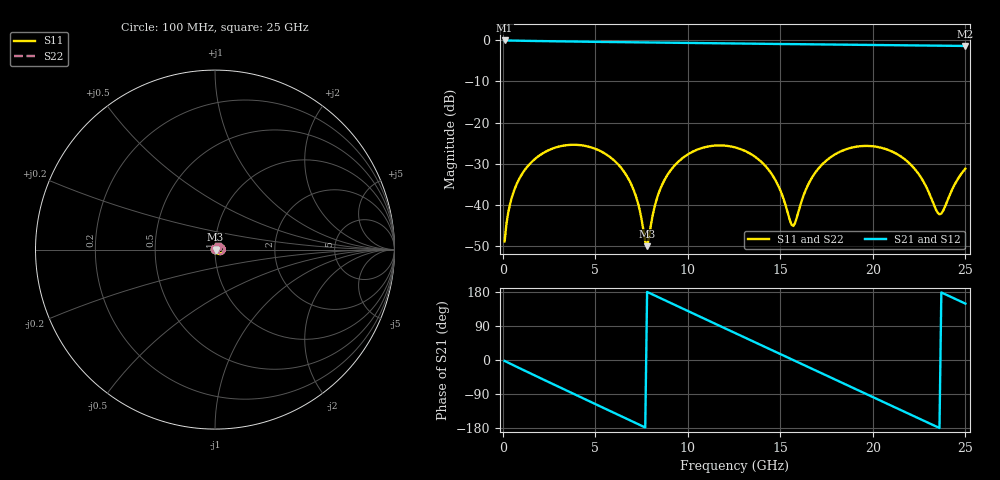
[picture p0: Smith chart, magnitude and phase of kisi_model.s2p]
! kisi T_ts6_sl_10: fast channel model (formula impedances, via model), up to 25 GHz
# Hz S RI R 50
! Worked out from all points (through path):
!   250 points, 100 MHz to 25 GHz, reference 50 ohm
!   highest |S21| = -0.03 dB at 100 MHz (marker M1); lowest = -1.4 dB at 25 GHz (marker M2)
!   group delay of S21, straight-line fit = 63.3 ps
!   lowest |S11| = -50.1 dB at 7.8 GHz (marker M3), VSWR 1.01, Z = 50.3 + j0.0442 ohm
!   |S11| at or under -10 dB: start of sweep to end of sweep
!   |S22| runs from -50.1 to -25.4 dB; largest |S21 - S12| = 0
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1e8  0.00235 0.00272  0.9961 -0.043  0.9961 -0.043  0.00235 0.00272
3e8  0.00375 0.00723  0.9868 -0.126  0.9868 -0.126  0.00375 0.00723
5e8  0.00562 0.0112  0.971 -0.2068  0.971 -0.2068  0.00562 0.0112
1.3e9  0.0176 0.0225  0.8466 -0.5047  0.8466 -0.5047  0.0176 0.0225
2.9e9  0.0472 0.0168  0.366 -0.9015  0.366 -0.9015  0.0472 0.0168
4.3e9  0.052 -0.00916  -0.1695 -0.9483  -0.1695 -0.9483  0.052 -0.00916
6.6e9  0.0137 -0.0202  -0.8455 -0.4327  -0.8455 -0.4327  0.0137 -0.0202
7.2e9  0.00591 -0.0111  -0.9208 -0.2186  -0.9208 -0.2186  0.00591 -0.0111
7.8e9  0.00311 0.000439  -0.9429 0.0064  -0.9429 0.0064  0.00311 0.000439
8.4e9  0.00585 0.012  -0.9109 0.2292  -0.9109 0.2292  0.00585 0.012
9.3e9  0.0186 0.0239  -0.7678 0.5315  -0.7678 0.5315  0.0186 0.0239
1.06e10  0.0427 0.0211  -0.4008 0.8346  -0.4008 0.8346  0.0427 0.0211
1.26e10  0.0479 -0.0127  0.3106 0.8604  0.3106 0.8604  0.0479 -0.0127
1.44e10  0.0176 -0.0191  0.7908 0.4423  0.7908 0.4423  0.0176 -0.0191
1.57e10  0.00549 0.000646  0.8997 -0.00555  0.8997 -0.00555  0.00549 0.000646
1.67e10  0.0118 0.0176  0.8229 -0.3508  0.8229 -0.3508  0.0118 0.0176
1.77e10  0.0281 0.0251  0.6198 -0.6375  0.6198 -0.6375  0.0281 0.0251
1.89e10  0.0472 0.0162  0.2579 -0.8442  0.2579 -0.8442  0.0472 0.0162
2.09e10  0.0431 -0.0156  -0.4139 -0.7688  -0.4139 -0.7688  0.0431 -0.0156
2.24e10  0.0183 -0.0169  -0.7671 -0.4033  -0.7671 -0.4033  0.0183 -0.0169
2.36e10  0.00766 0.000197  -0.8613 -0.00805  -0.8613 -0.00805  0.00766 0.000197
2.5e10  0.018 0.0208  -0.7312 0.4425  -0.7312 0.4425  0.018 0.0208
